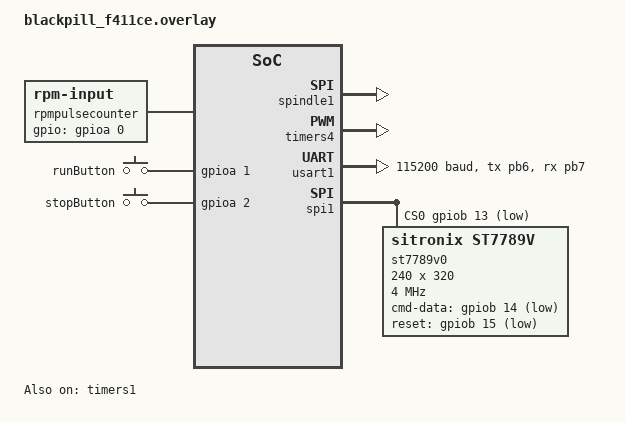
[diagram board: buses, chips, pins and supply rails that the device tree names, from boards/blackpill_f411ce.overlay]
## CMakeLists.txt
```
cmake_minimum_required(VERSION 3.13.1)
set(CMAKE_CXX_STANDARD 20)
set(CMAKE_C_STANDARD 11)
set(CMAKE_CXX_STANDARD_REQUIRED ON)
set(CMAKE_C_STANDARD_REQUIRED ON)
#set(CONFIG_LIB_CPLUSPLUS ON)
#set(CONFIG_NEWLIB_LIBC ON)
#set(CMAKE_CXX_EXTENSIONS OFF)

# list(APPEND BOARD_ROOT ${CMAKE_CURRENT_SOURCE_DIR})

set(NO_BUILD_TYPE_WARNING TRUE)
if(ELS_TESTS)
set(BOARD native_sim)
add_compile_definitions(ELS_TESTS)
endif()
set(CMAKE_EXPORT_COMPILE_COMMANDS ON)


find_package(Zephyr REQUIRED HINTS $ENV{ZEPHYR_BASE})

#include($ENV{ZEPHYR_BASE}/cmake/app/boilerplate.cmake NO_POLICY_SCOPE)
project(app LANGUAGES C CXX ASM)

FILE(GLOB_RECURSE app_sources 
#main app
./src/*.c*
#tests
# ./test/*.c*
)

if(ELS_TESTS)
    set(NO_BUILD_TYPE_WARNING TRUE)
    set(CMAKE_C_FLAGS -m32)
    set(CMAKE_CXX_FLAGS -m32) 

    add_compile_definitions(CONFIG_SPINDLE_ENCODER_TYPE_TEST)

    include(FetchContent)
        FetchContent_Declare(
        googletest
        URL https://github.com/google/googletest/archive/03597a01ee50ed33e9dfd640b249b4be3799d395.zip
    )
    # For Windows: Prevent overriding the parent project's compiler/linker settings
    set(gtest_force_shared_crt ON CACHE BOOL "" FORCE)
    FetchContent_MakeAvailable(googletest)

    FetchContent_Declare(
        trompeloeil
        GIT_REPOSITORY https://github.com/rollbear/trompeloeil.git
        GIT_TAG        v47 # or a later release
    )
    FetchContent_MakeAvailable(trompeloeil)

    # include($ENV{ZEPHYR_BASE}/cmake/app/boilerplate.cmake NO_POLICY_SCOPE)
    # project(app LANGUAGES C CXX ASM)
    FILE(GLOB_RECURSE test_sources ./test/*.c*)
    include_directories(./test/)
    
endif()

include_directories(src)
target_sources(app PRIVATE ${app_sources})

if(ELS_TESTS)
    enable_testing()

    target_link_libraries(
    app
    PUBLIC
    GTest::gtest_main
    )

    add_executable(tests ${app_sources} ${test_sources}) 
    target_link_libraries(
    tests
    PUBLIC
    trompeloeil::trompeloeil
    GTest::gtest_main
    )

    include(GoogleTest)
    gtest_discover_tests(tests)

endif()
```

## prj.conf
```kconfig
CONFIG_LOG=y
CONFIG_LOG_MODE_DEFERRED=y
CONFIG_LOG_RUNTIME_FILTERING=n
CONFIG_LOG_BUFFER_SIZE=2048
CONFIG_LOG_PRINTK=y
CONFIG_LOG_PROCESS_TRIGGER_THRESHOLD=0
CONFIG_CONSOLE=y
CONFIG_LOG_BACKEND_UART=y
CONFIG_PRINTK=y
CONFIG_DEBUG_INFO=n

CONFIG_PWM=y
CONFIG_SENSOR=y
CONFIG_EEPROM=y

CONFIG_CPP=y
CONFIG_CPP_EXCEPTIONS=y
# CONFIG_REQUIRES_FULL_LIBCPP=n
CONFIG_MINIMAL_LIBCPP=y
CONFIG_STD_CPP14=y
CONFIG_STD_CPP17=y
CONFIG_STD_CPP20=y

CONFIG_GPIO=y

CONFIG_COUNTER=y
# CONFIG_COUNTER_TIMER_STM32=y


CONFIG_DISPLAY=y
CONFIG_LVGL=y
CONFIG_LV_CONF_MINIMAL=y
CONFIG_LV_MEM_SIZE_KILOBYTES=24
CONFIG_LV_USE_ASSERT_NULL=y
CONFIG_LV_USE_ASSERT_MALLOC=y
CONFIG_LV_USE_ASSERT_STYLE=y
CONFIG_LV_USE_MEM_MONITOR=y
CONFIG_LV_MEM_MONITOR_ALIGN_BOTTOM_LEFT=y
CONFIG_LV_Z_MEM_POOL_SIZE=8192
CONFIG_LV_FONT_MONTSERRAT_30=y
CONFIG_LV_COLOR_DEPTH_16=y
CONFIG_LV_COLOR_16_SWAP=y
# CONFIG_LV_USE_LOG=n
CONFIG_LV_USE_LABEL=y
CONFIG_LV_USE_BTN=y
CONFIG_LV_USE_ARC=y
CONFIG_LV_BUILD_EXAMPLES=n


CONFIG_ISR_STACK_SIZE=16348
CONFIG_MAIN_STACK_SIZE=16348
CONFIG_HEAP_MEM_POOL_SIZE=25540

CONFIG_NO_OPTIMIZATIONS=y
CONFIG_EXTRA_EXCEPTION_INFO=y

CONFIG_ASSERT=y 
CONFIG_NEWLIB_LIBC=y
CONFIG_INIT_STACKS=y
CONFIG_EXCEPTION_STACK_TRACE=y
```

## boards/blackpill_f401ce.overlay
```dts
/ {
    aliases {
        qdec0 = &qdec;
    };
};

&timers3 {
    status = "okay";

    qdec: qdec {
        status = "okay";
        pinctrl-0 = <&tim3_ch1_pa6 &tim3_ch2_pa7>;
        pinctrl-names = "default";
        st,input-polarity-inverted;
        st,input-filter-level = <FDIV32_N8>;
        st,counts-per-revolution = <16>;
    };
};
```

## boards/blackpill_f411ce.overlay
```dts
/ {


    chosen {
	zephyr,display = &st7789v0;
    };

	rpmpulsecounter: rpmpulsecounter {
        compatible = "rpm-input";
        status = "okay";
        gpios = <&gpioa 0 GPIO_ACTIVE_HIGH>; /* PA0, Active High */
    };

	buttons {
		debounce-interval-ms = <50>;
		status = "okay";
		compatible = "gpio-keys";

		runButton: button_1 {
			status = "okay";
			
			gpios = <&gpioa 1 (GPIO_PULL_DOWN | GPIO_ACTIVE_HIGH) >;
			
			zephyr,code = <INPUT_KEY_1>;
			//zephyr,code = <BTN_0>;
		};

		stopButton: button_2 {
			status = "okay";
			
			gpios = <&gpioa 2 (GPIO_PULL_DOWN | GPIO_ACTIVE_HIGH) >;
			
			zephyr,code = <INPUT_KEY_2>;
			//zephyr,code = <BTN_0>;
		};

    };

    spindles {
        compatible = "generic-pwm";
        spindle1: spindle1 {
            
            status = "okay";
            pwms = <&pwm4 3 PWM_MSEC(25) PWM_POLARITY_NORMAL>;
            //pwms-names = "spindle1";
        };
    };

    

    aliases {
        qdec0 = &qdec;
        //spindlepwm0 = &spindle1;
        eeprom0 = &flash0;
        led0 = &user_led;
        display0 = &st7789v0;
		runbutton0 = &runButton;
		stopbutton0 = &stopButton;
    };

};

&timers1 {
    status = "okay";

    qdec: qdec {
        status = "okay";
        compatible = "st,stm32-qdec";
        pinctrl-0 = <&tim1_ch3_pa10 &tim1_ch4_pa11>;
        pinctrl-names = "default";
        st,input-polarity-inverted;
        st,input-filter-level = <FDIV32_N8>;
        st,counts-per-revolution = <16>;
    };

};

&timers4 {
	status = "okay";

	pwm4: pwm {
		status = "okay";
        //pwm-cells = <3>;
        // compatible = "st,stm32-pwm";
		pinctrl-0 = <&tim4_ch3_pb8>;
		pinctrl-names = "default";
	};
};
	

&usart1 {
	pinctrl-0 = <&usart1_tx_pb6 &usart1_rx_pb7>;
	pinctrl-names = "default";
	status = "okay";
	current-speed = <115200>;
};

	



&spi1 {
	status = "okay";
	cs-gpios = <&gpiob 13 GPIO_ACTIVE_LOW>;	/* PB13 */

    //pinctrl-0 = <&spi1_sck_pb3 &spi1_mosi_pa7>;

	st7789v0:st7789v@0 { //DIN = PA7 
		compatible = "sitronix,st7789v";
		spi-max-frequency = <4000000>;
		reg = <0>;
		cmd-data-gpios = <&gpiob 14 GPIO_ACTIVE_LOW>; /* PB14 */
		reset-gpios = <&gpiob 15 GPIO_ACTIVE_LOW>; /* PB15 */
		width = <240>;
		height = <320>;
		x-offset = <0>;
		y-offset = <0>;
		vcom = <0x19>;
		gctrl = <0x35>;
		vrhs = <0x12>;
		vdvs = <0x20>;
		mdac = <0x00>;
		gamma = <0x01>;
		colmod = <0x05>;
		lcm = <0x2c>;
		porch-param = [0c 0c 00 33 33];
		cmd2en-param = [5a 69 02 01];
		pwctrl1-param = [a4 a1];
		pvgam-param = [D0 04 0D 11 13 2B 3F 54 4C 18 0D 0B 1F 23];
		nvgam-param = [D0 04 0C 11 13 2C 3F 44 51 2F 1F 1F 20 23];
		ram-param = [00 F0];
		rgb-param = [CD 08 14];
	};
};

//&spi1 {
//	pinctrl-0 = <&spi1_sck_pa5 &spi1_nss_pa4
//		     &spi1_miso_pa6 &spi1_mosi_pa7>;
//	pinctrl-names = "default";
//	status = "okay";
//};
```

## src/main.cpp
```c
#include "Enum.hpp"
#include "config.hpp"
#if ENABLE_DISPLAY
#include "LVGLDisplay.hpp"
#endif
#include "RPMCounter.hpp"
#include "SpindleSpeed.hpp"
#include "zephyr/kernel/thread_stack.h"
#include <stdio.h>
#include <sys/_stdint.h>
#include <zephyr/drivers/gpio.h>
#include <zephyr/kernel.h>
#include <zephyr/logging/log.h>

/* 1000 msec = 1 sec */
#define SLEEP_TIME_MS 1000

/* The devicetree node identifier for the "led0" alias. */
#define LED0_NODE DT_ALIAS(led0)
#define DISPLAY0_NODE DT_ALIAS(display0)
#define RPM_PULSE_COUNTER_NODE DT_ALIAS(rpm_pulse_counter)

LOG_MODULE_REGISTER(main);
static const struct gpio_dt_spec led0 = GPIO_DT_SPEC_GET(LED0_NODE, gpios);
static const struct device *displayDevice = DEVICE_DT_GET(DISPLAY0_NODE);
// static const struct device *rpmPulseCounter = DEVICE_DT_GET_ANY(rpm_pulse_counter);

#define RUNBUTTON0_NODE DT_ALIAS(runbutton0)
#if !DT_NODE_HAS_STATUS(RUNBUTTON0_NODE, okay)
#error "Unsupported board: runbutton0 devicetree alias is not defined"
#endif

#define STOPBUTTON0_NODE DT_ALIAS(stopbutton0)
#if !DT_NODE_HAS_STATUS(STOPBUTTON0_NODE, okay)
#error "Unsupported board: stopbutton0 devicetree alias is not defined"
#endif

static const struct gpio_dt_spec runButton = GPIO_DT_SPEC_GET_OR(RUNBUTTON0_NODE, gpios,
																 {0});
static const struct gpio_dt_spec stopButton = GPIO_DT_SPEC_GET_OR(STOPBUTTON0_NODE, gpios,
																  {0});
static struct gpio_callback startButtonCbData;
static struct gpio_callback stopButtonCbData;

RPMCounter *rpmCounter;
SpindleSpeed *spindleSpeed;

void button_pressed(const struct device *dev, struct gpio_callback *cb,
					uint32_t pins)
{
	if (pins & BIT(runButton.pin))
	{
		LOG_INF("Run Button pressed at %" PRIu32 "\n", k_cycle_get_32());

		spindleSpeed->SetMode(SpindleMode::RUNNING);
	}
	else if (pins & BIT(stopButton.pin))
	{
		LOG_INF("Stop Button pressed at %" PRIu32 "\n", k_cycle_get_32());

		spindleSpeed->SetMode(SpindleMode::IDLE);
	}
}

extern void setupButtons();
extern void setupButton(const gpio_dt_spec &aButton, gpio_callback *aCb);

#if ENABLE_DISPLAY
LVGLDisplay *display;
K_THREAD_STACK_DEFINE(displayUpdateStack, 4096);
K_THREAD_STACK_DECLARE(displayUpdateStack, K_THREAD_STACK_SIZEOF(displayUpdateStack));

struct k_thread displayUpdateThreadData;

void updateDisplayThread(void *ad, void *as, void *ar)
{
	LVGLDisplay *d = static_cast<LVGLDisplay *>(ad);
	SpindleSpeed *s = static_cast<SpindleSpeed *>(as);
	RPMCounter *r = static_cast<RPMCounter *>(ar);

	while (1)
	{
		if (d->IsReady())
		{

			d->SetCurrentSpeed(r->GetRPM());
			d->SetPWMValue(s->GetPWMValue());
			d->SetRequestedSpeed(s->GetRequestedRPM());
			d->SetMode(s->GetMode());
			k_msleep(d->Update());
		}
		else
		{
			k_msleep(100000);
		}
	}
}
#endif

int main(void)
{

	LOG_INF("Hello World! %s\n", CONFIG_BOARD);

	setupButtons();

	LOG_INF("Buttons setup\n");

	rpmCounter = new RPMCounter();

	rpmCounter->Init();

	LOG_INF("RPM Counter setup\n");

	spindleSpeed = new SpindleSpeed();

	LOG_INF("Spindle Speed setup\n");

#if ENABLE_DISPLAY
	display = new LVGLDisplay(displayDevice, 0, 5000);
	display->Init();

	LOG_INF("Display setup\n");

	k_thread_create(&displayUpdateThreadData, displayUpdateStack, K_THREAD_STACK_SIZEOF(displayUpdateStack),
					updateDisplayThread, display, spindleSpeed, rpmCounter, 8, 0, K_NO_WAIT);
#endif

	LOG_INF("Done Boot! %s\n", CONFIG_BOARD);
	while (1)
	{
		k_sleep(K_FOREVER);
	}
}

void blink(const struct gpio_dt_spec *led, uint32_t sleep_ms)
{
	int cnt = 0;
	int ret;

	if (!device_is_ready(led->port))
	{
		LOG_INF("Error: %s device is not ready\n", led->port->name);
		return;
	}

	ret = gpio_pin_configure_dt(led, GPIO_OUTPUT);
	if (ret != 0)
	{
		LOG_INF("Error %d: failed to configure pin %d (LED0)\n", ret, led->pin);
		return;
	}

	while (1)
	{
		gpio_pin_set(led->port, led->pin, cnt % 2);

		k_msleep(sleep_ms);
		cnt++;
	}
}

void blink0(void) { blink(&led0, 1000); }

K_THREAD_DEFINE(blink0_id, 1024, blink0, NULL, NULL, NULL, 7, 0, 0);
// K_THREAD_DEFINE(uart_out_id, STACKSIZE, uart_out, NULL, NULL, NULL, PRIORITY,
// 0,
//                 0);

void setupButtons()
{
	setupButton(runButton, &startButtonCbData);
	setupButton(stopButton, &stopButtonCbData);
}

void setupButton(const gpio_dt_spec &aButton, gpio_callback *aCb)
{
	int ret;

	if (!gpio_is_ready_dt(&runButton))
	{
		LOG_INF("Error: button device %s is not ready\n",
				aButton.port->name);
		k_oops();
		return;
	}

	ret = gpio_pin_configure_dt(&aButton, GPIO_INPUT);
	if (ret != 0)
	{
		LOG_INF("Error %d: failed to configure %s pin %d\n",
				ret, aButton.port->name, aButton.pin);
		k_oops();
		return;
	}

	ret = gpio_pin_interrupt_configure_dt(&aButton,
										  GPIO_INT_EDGE_TO_ACTIVE);
	if (ret != 0)
	{
		LOG_INF("Error %d: failed to configure interrupt on %s pin %d\n",
				ret, aButton.port->name, aButton.pin);
		k_oops();
		return;
	}

	gpio_init_callback(aCb, button_pressed, BIT(aButton.pin));
	gpio_add_callback(aButton.port, aCb);
	LOG_INF("Set up button at %s pin %d\n", aButton.port->name, aButton.pin);
}
```

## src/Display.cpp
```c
#include "Display.hpp"
#include "Enum.hpp"

#include "Helpers.hpp"

#if CONFIG_LVGL
#include "lv_api_map.h"
#include <lvgl.h>
#include <widgets/lv_arc.h>
#endif

#include <zephyr/drivers/display.h>
#include <zephyr/kernel.h>
#include <zephyr/logging/log.h>

LOG_MODULE_REGISTER(displayClass, LOG_LEVEL_INF);

Display::Display(const struct device *aDisplayDevice, const uint16_t aMinRPMValue, const uint16_t aMaxRPMValue)
	: myDisplayDevice(aDisplayDevice),
#if CONFIG_LVGL
	  myModeBar(nullptr),
	  myValueLabel(nullptr),
#endif
	  myMinRPMValue(aMinRPMValue), myMaxRPMValue(aMaxRPMValue)
{
}

void Display::Init()
{
	if (!myDisplayDevice)
	{
		LOG_ERR("Failed to get binding to display");
		k_oops();
		return;
	}

#if CONFIG_LVGL
	myMainPage = lv_obj_create(lv_scr_act());
	lv_obj_set_size(myMainPage, 240, 320);
	myRPMScale = new RPMScale();
	myRPMScale->myMinValue = myMinRPMValue;
	myRPMScale->myMaxValue = myMaxRPMValue;
	DrawMainPage(myMainPage);

	lv_task_handler();
	if (display_blanking_off(myDisplayDevice) != 0)
	{
		LOG_ERR("Failed to turn the display blanking off");
		k_oops();
		return;
	}

#endif

	myReady = true;
}

bool Display::IsReady() { return myReady; }

uint32_t Display::Update()
{

#if CONFIG_LVGL
	return lv_task_handler();
#else
	return 1000;
#endif
}

void Display::SetMode(SpindleMode aMode)
{
#if CONFIG_LVGL
	if (aMode == SpindleMode::IDLE)
	{
		lv_label_set_text(myModeBar->myModeLabel, "IDLE");
		// lv_obj_remove_style_all(myModeBar->myModeContainer);
		lv_obj_set_style_bg_color(myModeBar->myModeContainer, lv_palette_main(LV_PALETTE_RED), 0);
		// lv_obj_add_style(myModeBar->myModeContainer, myModeStyles[(int)SpindleMode::IDLE].myStyle, 0);
	}
	else if (aMode == SpindleMode::RUNNING)
	{
		lv_label_set_text(myModeBar->myModeLabel, "RUNNING");
		// lv_obj_remove_style_all(myModeBar->myModeContainer);
		// lv_obj_add_style(myModeBar->myModeContainer, myModeStyles[(int)SpindleMode::RUNNING].myStyle, 0);
		lv_obj_set_style_bg_color(myModeBar->myModeContainer, lv_palette_main(LV_PALETTE_GREEN), 0);
	}
	else if (aMode == SpindleMode::CAL)
	{
		lv_label_set_text(myModeBar->myModeLabel, "CAL");
		lv_obj_set_style_bg_color(myModeBar->myModeContainer, lv_palette_main(LV_PALETTE_BLUE), 0);
	}
#endif
}

void Display::SetRequestedSpeed(int16_t setValue)
{
#if CONFIG_LVGL
	lv_label_set_text_fmt(myRPMScale->myRequestedLabel, "%d", setValue);
#endif
}

void Display::SetCurrentSpeed(int16_t actualValue)
{
#if CONFIG_LVGL
	lv_arc_set_value(myRPMScale->myScale, static_cast<int16_t>(ScaleValue(actualValue, myRPMScale->myMinValue, myRPMScale->myMaxValue, 0, 100)));
	lv_label_set_text_fmt(myRPMScale->myActualLabel, "%d", actualValue);
#endif
}

void Display::SetPWMValue(int16_t pwmValue)
{
#if CONFIG_LVGL
	lv_label_set_text_fmt(myRPMScale->myPWMLabel, "%d%%", pwmValue);
#endif
}

void Display::SetRPMScale(const uint16_t aMinValue, const uint16_t aMaxValue)
{
#if CONFIG_LVGL
	myRPMScale->myMinValue = aMinValue;
	myRPMScale->myMaxValue = aMaxValue;
#endif
}
```

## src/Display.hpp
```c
#pragma once

#include "Enum.hpp"

// #include <array>
#include <cstdint>
#if CONFIG_LVGL
#include "core/lv_obj.h"
#include <lvgl.h>
#endif
#include <sys/_stdint.h>
#include <zephyr/device.h>
#include <zephyr/drivers/display.h>

class Display
{
public:
#if CONFIG_LVGL
	struct RPMScale
	{
		lv_obj_t *myScale;
		lv_obj_t *myRequestedLabel;
		lv_obj_t *myActualLabel;
		lv_obj_t *myPWMLabel;
		int32_t myMinValue;
		int32_t myMaxValue;
	};

	struct ModeBar
	{
		lv_obj_t *myModeLabel;
		lv_obj_t *myModeContainer;
	};
#endif

	Display(const struct device *aDisplayDevice, const uint16_t myMinRPMValue, const uint16_t myMaxRPMValue);

	void Init();
	bool IsReady();
	void SetMode(SpindleMode aMode);

	void SetRequestedSpeed(int16_t setValue);
	void SetCurrentSpeed(int16_t actualValue);
	void SetPWMValue(int16_t pwmValue);
	void SetRPMScale(const uint16_t aMinValue, const uint16_t aMaxValue);
	uint32_t Update();

private:
	bool myReady = false;
	const struct device *myDisplayDevice;

	uint16_t myMinRPMValue;
	uint16_t myMaxRPMValue;
#if CONFIG_LVGL
	ModeBar *myModeBar;
	lv_obj_t *myValueLabel;
	struct PageStyle
	{
		lv_style_t *myStyle;
	};

	PageStyle myModeStyles[3];

	//  main page
	lv_obj_t *myMainPage;

	void DrawMainPage(lv_obj_t *aPage);

	RPMScale *myRPMScale;

	// Generic widget functions
	void CreateScale(lv_obj_t *aParent, RPMScale *anOutScale);
#endif
};
```

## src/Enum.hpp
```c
#pragma once

enum class SpindleMode
{
	IDLE = 0,
	RUNNING,
	CAL,
};
```

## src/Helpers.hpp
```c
#pragma once

#include "zephyr/sys/time_units.h"
inline double ScaleValue(double value, double minOld, double maxOld, double minNew, double maxNew)
{
	return (value - minOld) / (maxOld - minOld) * (maxNew - minNew) + minNew;
}

constexpr int32_t K_CYCLES_TO_MS(int32_t cycles)
{
	return (cycles * 1000) / sys_clock_hw_cycles_per_sec();
}
```

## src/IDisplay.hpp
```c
#pragma once

#include "Enum.hpp"

#include <cstdint>

class IDisplay
{
public:
	virtual void Init() = 0;
	virtual bool IsReady() = 0;
	virtual void SetMode(SpindleMode aMode) = 0;

	virtual void SetRequestedSpeed(int16_t setValue) = 0;
	virtual void SetCurrentSpeed(int16_t actualValue) = 0;
	virtual void SetPWMValue(int16_t pwmValue) = 0;
	virtual void SetRPMScale(const uint16_t aMinValue, const uint16_t aMaxValue) = 0;
	virtual uint32_t Update() = 0;

	IDisplay() = default;
};
```

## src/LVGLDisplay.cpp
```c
#if CONFIG_LVGL

#include "LVGLDisplay.hpp"
#include "Enum.hpp"

#include "Helpers.hpp"

#include "lv_api_map.h"
#include <lvgl.h>
#include <widgets/lv_arc.h>

#include <zephyr/drivers/display.h>
#include <zephyr/kernel.h>
#include <zephyr/logging/log.h>

LOG_MODULE_REGISTER(displayClass, LOG_LEVEL_INF);

LVGLDisplay::LVGLDisplay(const struct device *aDisplayDevice, const uint16_t aMinRPMValue, const uint16_t aMaxRPMValue)
	: myDisplayDevice(aDisplayDevice),
#if CONFIG_LVGL
	  myMinRPMValue(aMinRPMValue),
	  myMaxRPMValue(aMaxRPMValue),
#endif
	  myModeBar(nullptr), myValueLabel(nullptr)
{
}

void LVGLDisplay::Init()
{
	if (!myDisplayDevice)
	{
		LOG_ERR("Failed to get binding to display");
		k_oops();
		return;
	}

#if CONFIG_LVGL
	myMainPage = lv_obj_create(lv_scr_act());
	lv_obj_set_size(myMainPage, 240, 320);
	myRPMScale = new RPMScale();
	myRPMScale->myMinValue = myMinRPMValue;
	myRPMScale->myMaxValue = myMaxRPMValue;
	DrawMainPage(myMainPage);

	lv_task_handler();
	if (display_blanking_off(myDisplayDevice) != 0)
	{
		LOG_ERR("Failed to turn the display blanking off");
		k_oops();
		return;
	}

#endif

	myReady = true;
}

uint32_t LVGLDisplay::Update()
{

#if CONFIG_LVGL
	return lv_timer_handler_run_in_period(150);
#else
	return 1000;
#endif
}

void LVGLDisplay::SetMode(SpindleMode aMode)
{
#if CONFIG_LVGL
	if (aMode == SpindleMode::IDLE)
	{
		lv_label_set_text(myModeBar->myModeLabel, "IDLE");
		// lv_obj_remove_style_all(myModeBar->myModeContainer);
		lv_obj_set_style_bg_color(myModeBar->myModeContainer, lv_palette_main(LV_PALETTE_RED), 0);
		// lv_obj_add_style(myModeBar->myModeContainer, myModeStyles[(int)SpindleMode::IDLE].myStyle, 0);
	}
	else if (aMode == SpindleMode::RUNNING)
	{
		lv_label_set_text(myModeBar->myModeLabel, "RUNNING");
		// lv_obj_remove_style_all(myModeBar->myModeContainer);
		// lv_obj_add_style(myModeBar->myModeContainer, myModeStyles[(int)SpindleMode::RUNNING].myStyle, 0);
		lv_obj_set_style_bg_color(myModeBar->myModeContainer, lv_palette_main(LV_PALETTE_GREEN), 0);
	}
	else if (aMode == SpindleMode::CAL)
	{
		lv_label_set_text(myModeBar->myModeLabel, "CAL");
		lv_obj_set_style_bg_color(myModeBar->myModeContainer, lv_palette_main(LV_PALETTE_BLUE), 0);
	}
#endif
}

bool LVGLDisplay::IsReady()
{
	return myReady;
}

void LVGLDisplay::SetRequestedSpeed(int16_t setValue)
{
#if CONFIG_LVGL
	lv_label_set_text_fmt(myRPMScale->myRequestedLabel, "%d", setValue);
#endif
}

void LVGLDisplay::SetCurrentSpeed(int16_t actualValue)
{
#if CONFIG_LVGL
	lv_arc_set_value(myRPMScale->myScale, static_cast<int16_t>(ScaleValue(actualValue, myRPMScale->myMinValue, myRPMScale->myMaxValue, 0, 100)));
	lv_label_set_text_fmt(myRPMScale->myActualLabel, "%d", actualValue);
#endif
}

void LVGLDisplay::SetPWMValue(int16_t pwmValue)
{
#if CONFIG_LVGL
	lv_label_set_text_fmt(myRPMScale->myPWMLabel, "%d%%", pwmValue);
#endif
}

void LVGLDisplay::SetRPMScale(const uint16_t aMinValue, const uint16_t aMaxValue)
{
#if CONFIG_LVGL
	myRPMScale->myMinValue = aMinValue;
	myRPMScale->myMaxValue = aMaxValue;
#endif
}

#endif
```

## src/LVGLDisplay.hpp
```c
#pragma once

#include "Enum.hpp"

#if CONFIG_LVGL
#include "IDisplay.hpp"
#include "core/lv_obj.h"
#include <cstdint>
#include <lvgl.h>
#include <sys/_stdint.h>
#include <zephyr/device.h>
#include <zephyr/drivers/display.h>

class LVGLDisplay : public IDisplay
{
public:
	struct RPMScale
	{
		lv_obj_t *myScale;
		lv_obj_t *myRequestedLabel;
		lv_obj_t *myActualLabel;
		lv_obj_t *myPWMLabel;
		int32_t myMinValue;
		int32_t myMaxValue;
	};

	struct ModeBar
	{
		lv_obj_t *myModeLabel;
		lv_obj_t *myModeContainer;
	};

	LVGLDisplay(const struct device *aDisplayDevice, const uint16_t myMinRPMValue, const uint16_t myMaxRPMValue);
	virtual void Init() override;
	virtual void SetMode(SpindleMode aMode) override;
	virtual bool IsReady() override;
	virtual void SetRequestedSpeed(int16_t setValue) override;
	virtual void SetCurrentSpeed(int16_t actualValue) override;
	virtual void SetPWMValue(int16_t pwmValue) override;
	virtual void SetRPMScale(const uint16_t aMinValue, const uint16_t aMaxValue) override;
	virtual uint32_t Update() override;

private:
	bool myReady = false;
	const struct device *myDisplayDevice;

	uint16_t myMinRPMValue;
	uint16_t myMaxRPMValue;

	ModeBar *myModeBar;
	lv_obj_t *myValueLabel;
	struct PageStyle
	{
		lv_style_t *myStyle;
	};

	PageStyle myModeStyles[3];

	//  main page
	lv_obj_t *myMainPage;

	void DrawMainPage(lv_obj_t *aPage);

	RPMScale *myRPMScale;

	// Generic widget functions
	void CreateScale(lv_obj_t *aParent, RPMScale *anOutScale);
};
#endif
```

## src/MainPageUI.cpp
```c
#include "Enum.hpp"
#include "LVGLDisplay.hpp"

#if CONFIG_LVGL
#include <lvgl.h>

void LVGLDisplay::DrawMainPage(lv_obj_t *aPage)
{
	CreateScale(aPage, myRPMScale);

	myModeBar = new ModeBar();
	myModeBar->myModeContainer = lv_obj_create(aPage);
	myModeBar->myModeLabel = lv_label_create(myModeBar->myModeContainer);

	lv_style_t *labelStyle = new lv_style_t();
	lv_style_init(labelStyle);
	lv_style_set_text_color(labelStyle, lv_color_black());
	lv_style_set_text_font(labelStyle, &lv_font_montserrat_30);

	lv_style_t *containerStyle = new lv_style_t();

	lv_style_init(containerStyle);
	lv_style_set_width(containerStyle, 210);
	lv_style_set_height(containerStyle, 100);
	lv_style_set_line_rounded(containerStyle, true);

	lv_style_set_bg_color(containerStyle, lv_palette_main(LV_PALETTE_RED));

	lv_label_set_text(myModeBar->myModeLabel, "IDLE");
	lv_obj_add_style(myModeBar->myModeContainer, containerStyle, 0);
	lv_obj_add_style(myModeBar->myModeLabel, labelStyle, 0);
	lv_obj_align(myModeBar->myModeContainer, LV_ALIGN_BOTTOM_MID, 0, 0);
	lv_obj_align(myModeBar->myModeLabel, LV_ALIGN_CENTER, 0, 0);

	Update();

	// SetRPMScaleValue(myRPMScale, 0, 100, 54, 2543, 34);
}

/**
 * A simple round scale
 */
void LVGLDisplay::CreateScale(lv_obj_t *aParent, RPMScale *anOutScale)
{
	/*Create an Arc*/
	anOutScale->myScale = lv_arc_create(aParent);
	anOutScale->myMinValue = myMinRPMValue;
	anOutScale->myMaxValue = myMaxRPMValue;

	lv_style_t *style = new lv_style_t();

	lv_style_t *arcStyle = new lv_style_t();
	lv_style_init(arcStyle);
	lv_style_set_arc_color(arcStyle, lv_palette_main(LV_PALETTE_BLUE));

	lv_style_init(style);
	lv_style_set_text_font(style, &lv_font_montserrat_30);

	anOutScale->myRequestedLabel = lv_label_create(anOutScale->myScale);
	lv_label_set_text(anOutScale->myRequestedLabel, "0");

	anOutScale->myActualLabel = lv_label_create(anOutScale->myScale);
	lv_label_set_text(anOutScale->myActualLabel, "0");

	anOutScale->myPWMLabel = lv_label_create(anOutScale->myScale);
	lv_label_set_text(anOutScale->myPWMLabel, "0%");

	lv_obj_add_style(anOutScale->myRequestedLabel, style, 0);
	lv_obj_add_style(anOutScale->myActualLabel, style, 0);
	lv_obj_add_style(anOutScale->myPWMLabel, style, 0);

	lv_obj_set_size(anOutScale->myScale, 200, 200);
	lv_arc_set_rotation(anOutScale->myScale, 135);
	lv_arc_set_bg_angles(anOutScale->myScale, 0, 270);
	lv_arc_set_value(anOutScale->myScale, 0);
	lv_obj_center(anOutScale->myScale);
	lv_obj_align(anOutScale->myRequestedLabel, LV_ALIGN_CENTER, 0, -20);
	lv_obj_align_to(anOutScale->myActualLabel, anOutScale->myRequestedLabel, LV_ALIGN_BOTTOM_MID, 0, -20);
	lv_obj_align(anOutScale->myPWMLabel, LV_ALIGN_BOTTOM_MID, 0, -20);
	lv_obj_center(anOutScale->myActualLabel);
	lv_obj_align(anOutScale->myScale, LV_ALIGN_TOP_MID, 0, 0);

	// lv_obj_add_event_cb(anOutScale->myScale, ScaleValueChangedEventCallback,
	// 					LV_EVENT_VALUE_CHANGED, anOutScale);

	// /*Manually update the label for the first time*/
	// lv_event_send(anOutScale->myScale, LV_EVENT_VALUE_CHANGED, anOutScale);
}

#endif
```

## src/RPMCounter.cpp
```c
#include "RPMCounter.hpp"
#include "config.hpp"
#include "zephyr/devicetree.h"
#include "zephyr/sys/util.h"
#include <cstdint>
#include <zephyr/device.h>
#include <zephyr/devicetree/gpio.h>
#include <zephyr/drivers/gpio.h>
#include <zephyr/kernel.h>
#include <zephyr/logging/log.h>

LOG_MODULE_REGISTER(RPMCounter, LOG_LEVEL_INF);

#define RPMPULSE_COUNTER_NODE DT_NODELABEL(rpmpulsecounter)

#if DT_NODE_HAS_STATUS(RPMPULSE_COUNTER_NODE, okay)
#define GPIO_DEV DT_GPIO_LABEL(RPMPULSE_COUNTER_NODE, gpios)
#define GPIO_PIN DT_GPIO_PIN(RPMPULSE_COUNTER_NODE, gpios)
#define GPIO_FLAGS DT_GPIO_FLAGS(RPMPULSE_COUNTER_NODE, gpios)
#else
#error "Unsupported board: rpmpulsecounter node not defined or not enabled"
#endif

RPMCounter::RPMCounter()
{
	myPulseCounterSpec = GPIO_DT_SPEC_GET(RPMPULSE_COUNTER_NODE, gpios);
	if (!gpio_is_ready_dt(&myPulseCounterSpec))
	{
		LOG_ERR("Device not ready\n");
		k_oops();
		return;
	}

	thisRPMCounter = this;
	myCurrentUptime = k_uptime_get_32();
	myLastUptime = myCurrentUptime;

	gpio_pin_configure_dt(&myPulseCounterSpec, GPIO_INPUT | GPIO_PULL_DOWN);
	gpio_pin_interrupt_configure_dt(&myPulseCounterSpec, GPIO_INT_EDGE_RISING);
	gpio_init_callback(&myRPMCallbackData, RPMPulseCallback, BIT(myPulseCounterSpec.pin));
	gpio_add_callback(myPulseCounterSpec.port, &myRPMCallbackData);
}

void RPMCounter::Init()
{
}

void RPMCounter::RPMPulseCallback(const struct device *aDev, struct gpio_callback *aCb, uint32_t aPins)
{
	RPMCounter *rpmCounter = CONTAINER_OF(aCb, class RPMCounter, myRPMCallbackData);

	rpmCounter->myPulseCount++;
	if (rpmCounter->myPulseCount >= RPM_COUNTER_TIME_BETWEEN_NUM_TICKS)
	{
		rpmCounter->ProcessPulses();
		rpmCounter->myPulseCount = 0;
	}
}

int16_t RPMCounter::GetRPM()
{
	if (myCurrentUptime + 1000 < k_uptime_get_32())
	{
		myRPMValue = 0;
	}

	return myRPMValue;
}

void RPMCounter::ProcessPulses()
{
	myLastUptime = myCurrentUptime;

	myCurrentUptime = k_uptime_get_32();

	uint32_t timeDiff = myCurrentUptime - myLastUptime;

	// Calculate the time difference in seconds
	float timeInSeconds = timeDiff / 1000.0f; // Convert milliseconds to seconds

	// Calculate revolutions per second
	float revolutionsPerSecond = 1 / (timeInSeconds / RPM_COUNTER_TIME_BETWEEN_NUM_TICKS);

	// Convert revolutions per second to revolutions per minute
	float rpm = revolutionsPerSecond * 60;

	myRPMValue = static_cast<int16_t>(rpm);

	printk("RPM: %d\n", myRPMValue);

	// Display the calculated RPM on the display

	// #if ENABLE_DISPLAY
	// 	if (myDisplay->IsReady())
	// 	{
	// 		myDisplay->SetCurrentSpeed(static_cast<uint16_t>(rpm));
	// 	}
	// #endif
}
```

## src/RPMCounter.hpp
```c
#pragma once

#include "IDisplay.hpp"
#include <cstdint>
#include <stdint.h>
#include <zephyr/drivers/gpio.h>
#include <zephyr/kernel.h>

class RPMCounter
{
public:
	RPMCounter();
	void Init();
	int16_t GetRPM();

private:
	RPMCounter *thisRPMCounter;
	// const struct device *myPulseCounter;
	struct gpio_dt_spec myPulseCounterSpec;

	uint8_t myPulseCount = 0;

	uint32_t myCurrentUptime = 0;
	uint32_t myLastUptime = 0;

	gpio_callback myRPMCallbackData;

	uint16_t myRPMValue = 0;

	void ProcessPulses();
	static void RPMPulseCallback(const struct device *aDev, struct gpio_callback *aCb, uint32_t aPins);
};
```

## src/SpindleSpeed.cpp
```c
#include "SpindleSpeed.hpp"
#include "Enum.hpp"
#include "Helpers.hpp"
#include "config.hpp"
#include "zephyr/devicetree/pwms.h"
#include "zephyr/drivers/sensor.h"

#include <sys/_stdint.h>
#include <zephyr/drivers/pwm.h>
#include <zephyr/kernel.h>
#include <zephyr/sys/util.h>

LOG_MODULE_REGISTER(SpindleSpeed);

#define QDEC_NODE DT_ALIAS(qdec0)
#define EEPROM_NODE DT_ALIAS(eeprom0)
#define PWM_NODE DT_ALIAS(spindlepwm0)

// #if DT_NODE_HAS_STATUS(PWM_NODE, okay)
// // #define PWM_CTRLR DT_PWMS_(PWM_NODE, pwms)
// #define PWM_CHANNEL DT_PWMS_CHANNEL_BY_IDX(PWM_NODE, 0)
// #define PWM_PERIOD DT_PWMS_CHANNEL_BY_IDX(PWM_NODE, 0)
// #define PWM_FLAGS DT_PWMS_CHANNEL_BY_IDX(PWM_NODE, 0)
// #else
// #error "Unsupported board: spindlepwm node not defined or not enabled"
// #endif

K_THREAD_STACK_DEFINE(qdecThreadStack, 1024);

// const struct pwm_dt_spec pwmSpec = PWM_DT_SPEC_GET(PWM_NODE);

SpindleSpeed::SpindleSpeed()
{

	pwmSpec = PWM_DT_SPEC_GET(PWM_NODE);

	qdecDev = DEVICE_DT_GET(QDEC_NODE);

	if (!device_is_ready(qdecDev))
	{
		LOG_ERR("Error: QDEC device is not ready.");
		k_oops();
		return;
	}

	uint16_t preloadVal = 0;
	//  idle for a bit to let the QDEC settle (there are a few erroneous samples depending on which pin is high or low on start)
	for (int i = 0; i != 5; i++)
	{
		struct sensor_value val;
		if (sensor_sample_fetch(qdecDev) < 0)
		{
			LOG_ERR("Failed to fetch sample");
			continue;
		}

		if (sensor_channel_get(qdecDev, SENSOR_CHAN_ROTATION, &val) < 0)
		{
			LOG_ERR("Failed to get data");
			continue;
		}

		preloadVal = val.val1;
		k_sleep(K_MSEC(50));
	}

	myPreviousEncoderVal = preloadVal;

	k_thread_create(&qdecThreadData, qdecThreadStack, K_THREAD_STACK_SIZEOF(qdecThreadStack),
					qdecThread, this, NULL, NULL, 6, 0, K_NO_WAIT);

	if (!pwm_is_ready_dt(&pwmSpec))
	{
		LOG_ERR("Error: PWM device is not ready.");
		k_oops();
		return;
	}

	int ret = pwm_set_pulse_dt(&pwmSpec, 0);
	if (ret < 0)
	{
		LOG_ERR("Error %d: failed to set pulse width\n", ret);
		k_oops();
		return;
	}
}

void SpindleSpeed::SetMode(SpindleMode aMode)
{
	if (aMode == myMode)
	{
		return;
	}

	myMode = aMode;

	switch (myMode)
	{
	case SpindleMode::IDLE:
		setSpindlePWM(0);
		break;
	case SpindleMode::RUNNING:
		setSpindlePWM(myCount);
		break;
	case SpindleMode::CAL:
		break;
	}
}

uint16_t SpindleSpeed::GetPWMValue() const { return myPWMValue; }

uint16_t SpindleSpeed::GetCount() const { return myCount; }

float SpindleSpeed::GetRatio() const { return myRPMMultiplier; }

SpindleMode SpindleSpeed::GetMode() const { return myMode; }

void SpindleSpeed::qdecThread(void *aSpindleSpeed, void *, void *)
{
	SpindleSpeed *instance = static_cast<SpindleSpeed *>(aSpindleSpeed);

	if (instance)
	{
		while (1)
		{
			instance->handleRotationEvent();
			k_sleep(K_MSEC(33));
		}
	}
	else
	{
		LOG_ERR("Failed to get instance of SpindleSpeed");
		k_oops();
	}
}

uint16_t SpindleSpeed::GetRequestedRPM() const
{
	return (myCount * myRPMMultiplier);
}

/*
 * @brief Set the spindle speed controller's PWM duty cycle
 * @param aDutyCycle The duty cycle percent (0 to 100)
 */
void SpindleSpeed::setSpindlePWM(uint16_t aDutyCycle)
{
	if (aDutyCycle == myPWMValue)
	{
		return;
	}

	uint32_t pulse = static_cast<uint32_t>(aDutyCycle / 100.0f * PWM_FREQUENCY);
	myPWMValue = aDutyCycle;

	// int ret = pwm_set_pulse_dt(&pwmSpec, pulse);
	int test = pwmSpec.period;
	int ret = pwm_set(pwmSpec.dev, pwmSpec.channel, PWM_FREQUENCY, pulse,
					  pwmSpec.flags);
	if (ret < 0)
	{
		LOG_ERR("Error %d: failed to set pulse width\n", ret);
		k_oops();
		return;
	}
	else
	{
		LOG_INF("PWM set to %d", pulse);
	}
	// pwm_set_cycles(pwmSpec.dev, pwmSpec.channel, pwmSpec.period, pulse, pwmSpec.flags);
}

void SpindleSpeed::RotationTriggerHandler(const struct device *dev, const struct sensor_trigger *trigger)
{
	SpindleSpeed *instance = CONTAINER_OF(dev, SpindleSpeed, qdecDev);

	if (instance)
	{
		instance->handleRotationEvent();
	}
	else
	{
		LOG_ERR("Failed to get instance of SpindleSpeed");
		k_oops();
	}
}

void SpindleSpeed::handleRotationEvent()
{
	struct sensor_value val;
	if (sensor_sample_fetch(qdecDev) < 0)
	{
		LOG_ERR("Failed to fetch sample");
		return;
	}

	if (sensor_channel_get(qdecDev, SENSOR_CHAN_ROTATION, &val) < 0)
	{
		LOG_ERR("Failed to get data");
		return;
	}

#if DEBUG_QDEC
	LOG_INF("Val %d", val.val1);
#endif

	myPreviousCount = myCount;

	uint32_t currentVal = val.val1;

	int32_t delta = 0;

	// Detect direction and calculate delta
	if (currentVal < myPreviousEncoderVal)
	{
		if ((myPreviousEncoderVal - currentVal) > (ENCODER_MAX_VAL / 2))
		{
			// Handle overflow case (forward rotation wrapping around)
			delta = (currentVal + (ENCODER_MAX_VAL - myPreviousEncoderVal) + 1);
		}
		else
		{
			// Normal decrement (backward rotation)
			delta = -(myPreviousEncoderVal - currentVal);
		}
	}
	else
	{
		if ((currentVal - myPreviousEncoderVal) > (ENCODER_MAX_VAL / 2))
		{
			// Handle underflow case (backward rotation wrapping around)
			delta = -((myPreviousEncoderVal + (ENCODER_MAX_VAL - currentVal) + 1));
		}
		else
		{
			// Normal increment (forward rotation)
			delta = (currentVal - myPreviousEncoderVal);
		}
	}

	myPreviousEncoderVal = currentVal;

	switch (myMode)
	{
	case SpindleMode::IDLE:
	case SpindleMode::RUNNING:

		if (delta != 0)
		{
			myCount += delta;
			if (myCount < 0)
			{
				myCount = 0;
			}

			if (myCount > 100)
			{
				myCount = 100;
			}

#if DEBUG_QDEC
			LOG_INF("Current rotation count: %d", myCount);
			LOG_INF("Count %d", myCount);
#endif
			if (myPreviousCount != myCount)
			{

				// k_work_reschedule(&saveCountWork, K_SECONDS(30));
			}
		}

		if (myMode == SpindleMode::RUNNING)
		{

			setSpindlePWM(myCount);
		}
		else
		{
			setSpindlePWM(0);
		}

		// todo queue work to update the display with the new calculated rpm based
		// on mycount

		break;
	case SpindleMode::CAL:
		float myPreviousRPMMultiplier = myRPMMultiplier;
		myRPMMultiplier += (float)val.val1;
		LOG_INF("Current ratio: %.2f", (double)myRPMMultiplier);
		if (myRPMMultiplier != myPreviousRPMMultiplier)
		{
			// k_work_reschedule(&saveRatioWork, K_SECONDS(30));
		}

		// todo queue work to update the display with the new ratio and new
		// calculated rpm
		break;
	}
}

void SpindleSpeed::saveCount()
{
	if (eeprom_write(eepromDev, 0, &myCount, sizeof(myCount)) != 0)
	{
		LOG_ERR("Failed to save rotation count to EEPROM");
	}
}

void SpindleSpeed::loadCount()
{
	if (eeprom_read(eepromDev, 0, &myCount, sizeof(myCount)) != 0)
	{
		LOG_ERR("Failed to load rotation count from EEPROM");
		myCount = 0; // Default to 0 if read fails
	}

	// TODO rescale the display based on the loaded rpm multiplier
}

void SpindleSpeed::saveRatio()
{
	if (eeprom_write(eepromDev, sizeof(myCount), &myRPMMultiplier,
					 sizeof(myRPMMultiplier)) != 0)
	{
		LOG_ERR("Failed to save ratio to EEPROM");
	}
}

void SpindleSpeed::loadRatio()
{
	if (eeprom_read(eepromDev, sizeof(myCount), &myRPMMultiplier,
					sizeof(myRPMMultiplier)) != 0)
	{
		LOG_ERR("Failed to load ratio from EEPROM");
		myRPMMultiplier = 0.0f; // Default to 0 if read fails
	}
}

void SpindleSpeed::saveCountWorkHandler(struct k_work *work)
{
	SpindleSpeed *cont = CONTAINER_OF(work, SpindleSpeed, myCount);
	cont->saveCount();
}

void SpindleSpeed::saveRatioWorkHandler(struct k_work *work)
{
	SpindleSpeed *cont = CONTAINER_OF(work, SpindleSpeed, myCount);
	cont->saveRatio();
}
```

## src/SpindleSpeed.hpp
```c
#pragma once

#include <sys/_stdint.h>
#include <zephyr/device.h>
#include <zephyr/drivers/eeprom.h>
#include <zephyr/drivers/gpio.h>
#include <zephyr/drivers/sensor.h>
#include <zephyr/kernel.h>
#include <zephyr/logging/log.h>
#include <zephyr/sys/printk.h>
#include <zephyr/sys/util.h>
#include <zephyr/types.h>

#include "Enum.hpp"
#include "zephyr/drivers/pwm.h"
#include "zephyr/kernel/thread_stack.h"

class SpindleSpeed
{
public:
	uint16_t GetCount() const;
	uint16_t GetRequestedRPM() const;
	float GetRatio() const;
	SpindleMode GetMode() const;
	uint16_t GetPWMValue() const;
	void SetMode(SpindleMode aMode);
	SpindleSpeed();

private:
	const struct device *qdecDev = nullptr;
	const struct device *eepromDev = nullptr;
	// const struct device *pwmDev = nullptr;
	struct pwm_dt_spec pwmSpec;
	int myCount = 0;
	int myPreviousCount = 0;
	int myPreviousEncoderVal = 0;
	int myCurrentRPM = 2000;
	int myPWMValue = 0;
	float myRPMMultiplier = 50.0f;
	SpindleMode myMode = SpindleMode::IDLE;
	SpindleMode lastMode = myMode;
	sensor_trigger *qdecSensorTrig;

	struct gpio_callback buttonCbData;

	int64_t buttonPressTime = 0;

	static void qdecThread(void *aSpindleSpeed, void *, void *);
	static void RotationTriggerHandler(const struct device *dev, const struct sensor_trigger *trigger);
	struct k_thread qdecThreadData;
	void handleRotationEvent();
	void saveCount();
	void loadCount();
	void saveRatio();
	void loadRatio();

	void setSpindlePWM(uint16_t aDutyCycle);

	k_work_delayable saveCountWork;
	k_work_delayable saveRatioWork;
	static void saveCountWorkHandler(struct k_work *work);
	static void saveRatioWorkHandler(struct k_work *work);

public:
};
```
